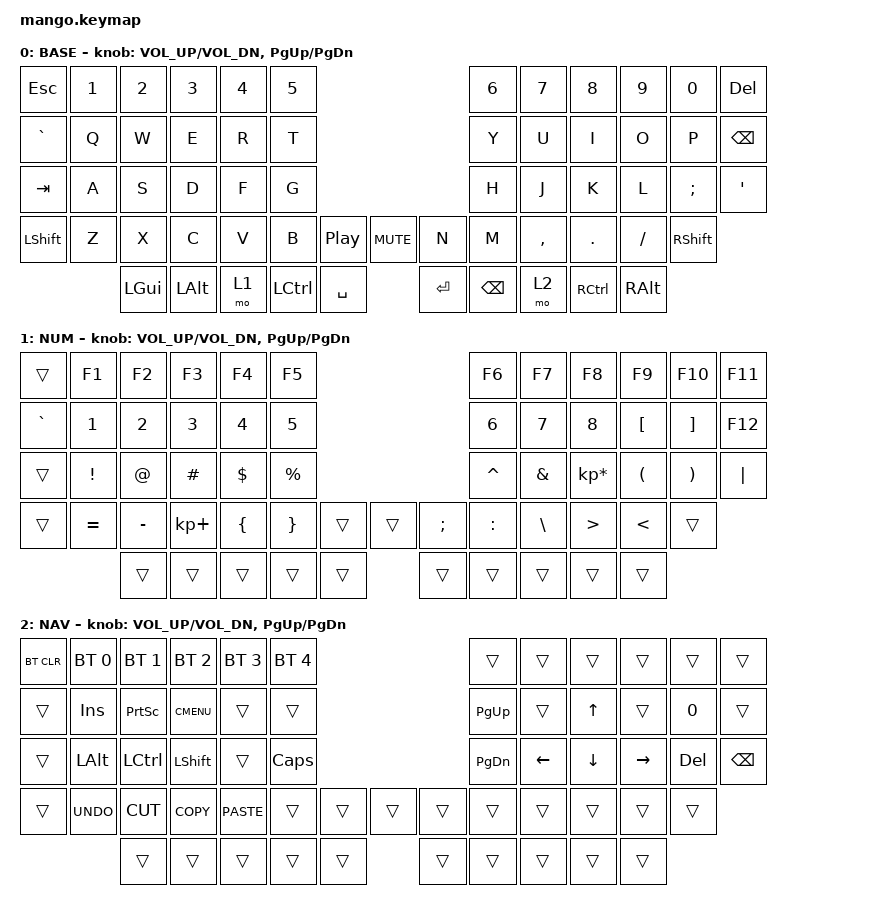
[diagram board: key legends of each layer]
#include <behaviors.dtsi>
#include <dt-bindings/zmk/keys.h>
#include <dt-bindings/zmk/bt.h>
#include <dt-bindings/zmk/outputs.h>
#include <dt-bindings/zmk/rgb.h>
#include <dt-bindings/zmk/ext_power.h>

#define BASE 0
#define NUM  1
#define NAV  2

/ {
    keymap {
        compatible = "zmk,keymap";

        default_layer {
// ------------------------------------------------------------------------------------------------------------
// |  ESC  |  1  |  2  |  3   |  4   |  5   |                   |  6   |  7    |  8    |  9   |   0   | DEL   |
// |  `    |  Q  |  W  |  E   |  R   |  T   |                   |  Y   |  U    |  I    |  O   |   P   | BKSPC |
// |  TAB  |  A  |  S  |  D   |  F   |  G   |                   |  H   |  J    |  K    |  L   |   ;   |   '   |
// | SHIFT |  Z  |  X  |  C   |  V   |  B   |  PLAY  |  | MUTE  |  N   |  M    |  ,    |  .   |   /   | SHIFT |
//               | GUI | ALT  | LOWER| CTRL | SPACE  |  | ENTER | BKSPC| RAISE | CTRL  | ALT   |
            label = "BASE";
            bindings = <
&kp ESC &kp N1 &kp N2   &kp N3   &kp N4    &kp N5                      &kp N6 &kp N7    &kp N8    &kp N9   &kp N0   &kp DEL
&kp GRAVE   &kp Q  &kp W    &kp E    &kp R     &kp T                       &kp Y  &kp U     &kp I     &kp O    &kp P    &kp BSPC
&kp TAB   &kp A  &kp S    &kp D    &kp F     &kp G                       &kp H  &kp J     &kp K     &kp L    &kp SEMI &kp SQT
&kp LSHFT &kp Z  &kp X    &kp C    &kp V     &kp B  &kp C_PP &kp C_MUTE  &kp N  &kp M     &kp COMMA &kp DOT  &kp FSLH &kp RSHFT
                 &kp LGUI &kp LALT &mo 1  &kp LCTRL &kp SPACE    &kp RET &kp BSPC &mo 2  &kp RCTRL &kp RALT
            >;

            sensor-bindings = <&inc_dec_kp C_VOL_UP C_VOL_DN &inc_dec_kp PG_UP PG_DN>;
        };

        lower_layer {
// TODO: Some binds are waiting for shifted keycode support.
// ------------------------------------------------------------------------------------------------------------
// |       |  F1 |  F2 |  F3  |  F4  |  F5  |                   |  F6  |  F7   |  F8   |  F9  |  F10  |  F11  |
// | `     |   1 |   2 |   3  |   4  |   5  |                   |   6  |   7   |   8   |  [   |    ]  |  F12  |
// |       |  !  |  @  |  #   |  $   |  %   |                   |  ^   |  &    |  *    |  (   |   )   |   |   |
// |       |  =  |  -  |  +   |  {   |  }   |        |  |       |  ;   |  :    |  \    |  <   |   >   |       |
//               |     |      |      |      |        |  |       |      |       |       |      |
            label = "NUM";
            bindings = <
&trans    &kp F1    &kp F2    &kp F3      &kp F4    &kp F5                    &kp F6    &kp F7   &kp F8          &kp F9    &kp F10   &kp F11
&kp GRAVE &kp N1    &kp N2    &kp N3      &kp N4    &kp N5                    &kp N6    &kp N7   &kp N8          &kp LBKT  &kp RBKT    &kp F12
&trans    &kp EXCL  &kp AT    &kp HASH    &kp DLLR  &kp PRCNT                 &kp CARET &kp AMPS &kp KP_MULTIPLY &kp LPAR  &kp RPAR  &kp PIPE
&trans    &kp EQUAL &kp MINUS &kp KP_PLUS &kp LBRC  &kp RBRC  &trans   &trans &kp SEMI  &kp COLON &kp BSLH &kp GT  &kp LT  &trans
                    &trans    &trans      &trans    &trans    &trans   &trans &trans    &trans   &trans          &trans
            >;
            sensor-bindings = <&inc_dec_kp C_VOL_UP C_VOL_DN &inc_dec_kp PG_UP PG_DN>;
        };

        raise_layer {
// ------------------------------------------------------------------------------------------------------------
// |BTCLR| BT1  | BT2  |  BT3  |  BT4  |  BT5 |                |      |      |       |      |       |       |
// |     | INS  | PSCR | GUI   |       |      |                | PGUP |      |   ^   |      |       |       |
// |     | ALT  | CTRL | SHIFT |       | CAPS |                | PGDN |   <- |   v   |  ->  |  DEL  | BKSPC |
// |     | UNDO | CUT  | COPY  | PASTE |      |      |  |      |      |      |       |      |       |       |
//              |      |       |       |      |      |  |      |      |      |       |      |
            label = "NAV";
            bindings = <
&bt BT_CLR &bt BT_SEL 0 &bt BT_SEL 1 &bt BT_SEL 2 &bt BT_SEL 3 &bt BT_SEL 4             &trans    &trans    &trans   &trans    &trans  &trans
&trans     &kp INS      &kp PSCRN    &kp K_CMENU  &trans       &trans                   &kp PG_UP &trans    &kp UP   &trans    &kp N0  &trans
&trans     &kp LALT     &kp LCTRL    &kp LSHFT    &trans       &kp CLCK                 &kp PG_DN &kp LEFT  &kp DOWN &kp RIGHT &kp DEL &kp BSPC
&trans     &kp K_UNDO   &kp K_CUT    &kp K_COPY   &kp K_PASTE  &trans  &trans   &trans  &trans    &trans    &trans   &trans    &trans  &trans
                        &trans       &trans       &trans       &trans  &trans   &trans  &trans    &trans    &trans   &trans
            >;

            sensor-bindings = <&inc_dec_kp C_VOL_UP C_VOL_DN &inc_dec_kp PG_UP PG_DN>;
        };
    };
};
